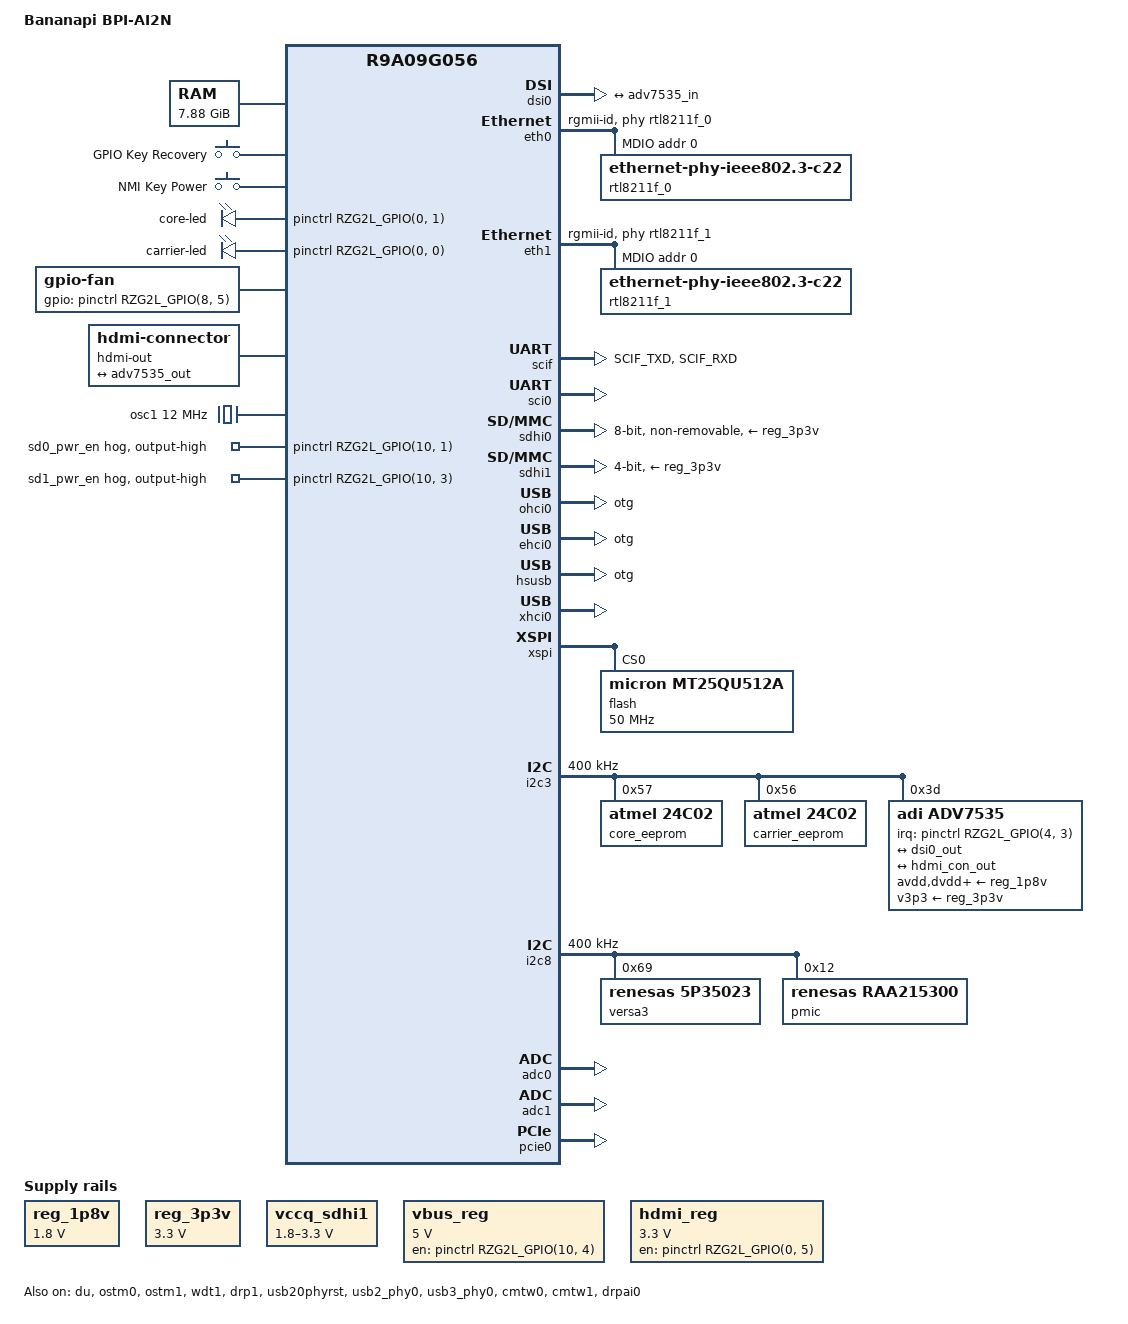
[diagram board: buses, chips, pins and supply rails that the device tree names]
// SPDX-License-Identifier: (GPL-2.0-only OR BSD-2-Clause)
/*
 * Device Tree Source for the RZ/V2N EVK Alpha board
 *
 * Copyright (C) 2024 Renesas Electronics Corp.
 */

/dts-v1/;
#include "r9a09g056.dtsi"
#include <dt-bindings/pinctrl/rzg2l-pinctrl.h>
#include <dt-bindings/gpio/gpio.h>
#include <dt-bindings/input/input.h>

/ {
	model = "Bananapi BPI-AI2N";
	compatible = "sinovoip,bpi-ai2n", "renesas,r9a09g056n44", "renesas,r9a09g056";

	aliases {
		i2c0 = &i2c0;
		i2c1 = &i2c1;
		i2c2 = &i2c2;
		i2c3 = &i2c3;
		i2c8 = &i2c8;
		serial0 = &scif;
		serial1 = &sci0;
		serial2 = &sci2;
		mmc0 = &sdhi0;
		mmc1 = &sdhi1;
		spi0 = &xspi;
		spi1 = &spi0;
		spi2 = &spi2;
		ethernet0 = &eth0;
		ethernet1 = &eth1;
	};

	chosen {
		bootargs = "ignore_loglevel";
		stdout-path = "serial0:115200n8";
	};

	memory@48000000 {
		device_type = "memory";
		/* first 128MB is reserved for secure area. */
		reg = <0x0 0x48000000 0x1 0xF8000000>;
	};

	reserved-memory {
		#address-cells = <2>;
		#size-cells = <2>;
		ranges;

		global_cma: linux,cma@58000000 {
			compatible = "shared-dma-pool";
			linux,cma-default;
			reusable;
			reg = <0x0 0x58000000 0x0 0x28000000>;
		};

		mmp_reserved: linux,multimedia {
			compatible = "shared-dma-pool";
			reusable;
			reg = <0x00000000 0x80000000 0x0 0x10000000>;
		};

		isp_reserved: frame_buffer@90000000 {
			compatible = "shared-dma-pool";
			reusable;
			reg = <0x0 0x90000000 0x0 0x18000000>;
		};

		opencva_reserved: OpenCVA@A8000000 {
			reusable;
			reg = <0x0 0xA8000000 0x0 0x7CFF000>;
		};

		shared_drp_reserved: SharedDRP@AFCFF000 {
			reusable;
			reg = <0x0 0xAFCFF000 0x0 0x00001000>;
		};

		drp_codec: DRP-Codec@AFD00000 {
			reusable;
			reg = <0x0 0xAFD00000 0x0 0x300000>;
		};

		image_buf0: image_buf@B0000000 {
			compatible = "shared-dma-pool";
			reusable;
			reg = <0x0 0xB0000000 0x0 0x4000000>;
			label = "image_buf0";
		};

		cru_func: cru_buffer@B4000000 {
			compatible = "shared-dma-pool";
			reusable;
			reg = <0x0 0xB4000000 0x0 0x16400000>;
		};

		drp_reserved: DRP-AI@D0000000 {
			reusable;
			reg = <0x0 0xD0000000 0x0 0x20000000>;
		};
	};

	mmngr {
		compatible = "renesas,mmngr";
		memory-region = <&mmp_reserved>;
	};

	mmngrbuf {
		compatible = "renesas,mmngrbuf";
	};

	vspm_if {
		compatible = "renesas,vspm_if";
	};

	x1_clk: x1-clock {
		compatible = "fixed-clock";
		#clock-cells = <0>;
		clock-frequency = <24000000>;
	};

	/* 32.768kHz crystal for raa2153000 rtc */
	x3_clk: x3-clock {
		compatible = "fixed-clock";
		#clock-cells = <0>;
		clock-frequency = <32768>;
	};

	reg_1p8v: regulator0 {
		compatible = "regulator-fixed";

		regulator-name = "fixed-1.8V";
		regulator-min-microvolt = <1800000>;
		regulator-max-microvolt = <1800000>;
		regulator-boot-on;
		regulator-always-on;
	};

	reg_3p3v: regulator1 {
		compatible = "regulator-fixed";

		regulator-name = "fixed-3.3V";
		regulator-min-microvolt = <3300000>;
		regulator-max-microvolt = <3300000>;
		regulator-boot-on;
		regulator-always-on;
	};

	/* SD IOVS */
	vccq_sdhi1: regulator-vccq-sdhi1 {
		compatible = "regulator-gpio";

		regulator-name = "SDHI1 VccQ";
		regulator-min-microvolt = <1800000>;
		regulator-max-microvolt = <3300000>;

		gpios = <&pinctrl RZG2L_GPIO(10, 2) GPIO_ACTIVE_HIGH>;

		gpios-states = <0>;
		states = <3300000 0 1800000 1>;
	};

	vbus_reg: regulator_vbus {
 		compatible = "regulator-fixed";
		regulator-name = "vbus-regulator";
		regulator-min-microvolt = <5000000>;
		regulator-max-microvolt = <5000000>;
		startup-delay-us = <20000>;
		gpios = <&pinctrl RZG2L_GPIO(10, 4) GPIO_ACTIVE_HIGH>;
		enable-active-high;
		regulator-boot-on;
		regulator-always-on;
	};

	hdmi_reg: regulator_hdmi {
		compatible = "regulator-fixed";
		regulator-name = "hdmi-regulator";
		regulator-min-microvolt = <3300000>;
		regulator-max-microvolt = <3300000>;
		startup-delay-us = <20000>;
		gpios = <&pinctrl RZG2L_GPIO(0, 5) GPIO_ACTIVE_HIGH>;
		enable-active-high;
		regulator-boot-on;
		regulator-always-on;
	};

	gpio-keys {
		compatible = "gpio-keys";
		status = "okay";

		/* GPIO recovery key */
		recovery {
			interrupt-parent = <&pinctrl>;
			interrupts = <RZG2L_GPIO(0, 3) IRQ_TYPE_LEVEL_LOW>;
			//gpios = <&pinctrl RZG2L_GPIO(0, 3) GPIO_ACTIVE_HIGH>;
			linux,code = <KEY_VENDOR>;
			label = "GPIO Key Recovery";
			debounce-interval = <100>;
			//wakeup-source;
		};

		/* NMI power key */
		power {
			interrupt-parent = <&icu>;
			interrupts = <0 IRQ_TYPE_EDGE_FALLING>;
			linux,code = <KEY_POWER>;
			label = "NMI Key Power";
			debounce-interval = <100>;
			//wakeup-source;
		};
	};

	leds {
		compatible = "gpio-leds";

		core-led {
			gpios = <&pinctrl RZG2L_GPIO(0, 1) GPIO_ACTIVE_HIGH>;
			label = "core-led";
			linux,default-trigger = "default-on";
			default-state = "off";
		};

		carrier-led {
			gpios = <&pinctrl RZG2L_GPIO(0, 0) GPIO_ACTIVE_HIGH>;
                        label = "carrier-led";
                        linux,default-trigger = "heartbeat";
			default-state = "off";
                };
	};

	gpio-fan {
		compatible = "gpio-fan";
		status = "okay";
		gpios = <&pinctrl RZG2L_GPIO(8, 5) GPIO_ACTIVE_HIGH>;
		gpio-fan,speed-map = <0 1 3000 0>;
        };

	fan: pwm-fan {
                compatible = "pwm-fan";
		status = "disabled";
                cooling-levels = <0 100 150 200 255>;
                #cooling-cells = <2>;
                fan-supply = <&reg_1p8v>;
                pwms = <&gpt0_5 0 50000 0>;
        };

	hdmi-out {
		compatible = "hdmi-connector";
		type = "d";

		port {
			hdmi_con_out: endpoint {
				remote-endpoint = <&adv7535_out>;
			};
		};
	};

	osc1: cec-clock {
		compatible = "fixed-clock";
		#clock-cells = <0>;
		clock-frequency = <12000000>;
	};

	snd_rzv2n: sound {
		#address-cells = <1>;
		#size-cells = <0>;
		compatible = "simple-audio-card";
		simple-audio-card,name = "rsnd_rzv2n";
		status="disabled";

		ssi_link: simple-audio-card,dai-link@0 {
			format = "i2s";
			reg = <0>;
			bitclock-master = <&cpu_dai0>;
			frame-master = <&cpu_dai0>;
			mclk-fs = <256>;

			cpu_dai0: cpu {
				sound-dai = <&rcar_sound 0>;
			};

			codec_dai: codec {
				sound-dai = <&da7212>;
				clocks = <&rcar_sound>;
			};
		};
	};
};

&du {
	status = "okay";
};

&dsi0 {
	status = "okay";

	ports {
		port@1 {
			dsi0_out: endpoint {
				remote-endpoint = <&adv7535_in>;
				data-lanes = <1 2 3 4>;
			};
		};
	};
};

&eth0 {
	phy-handle = <&rtl8211f_0>;
	phy-mode = "rgmii-id";
	status = "okay";

	mdio {
		compatible = "snps,dwmac-mdio";
		#address-cells = <1>;
		#size-cells = <0>;

		rtl8211f_0: ethernet-phy@0 {
			compatible = "ethernet-phy-ieee802.3-c22";
                        reg = <0>;
			//max-speed = <1000>;
                        //reset-assert-us = <10000>;
                        //reset-deassert-us = <30000>;
                        //reset-gpios = <&pinctrl RZG2L_GPIO(7, 1) IRQ_TYPE_LEVEL_LOW>;

			//interrupt-parent = <&pinctrl>;
			//interrupts = <RZG2L_GPIO(7, 1) IRQ_TYPE_LEVEL_LOW>;
                };
	};
};

&eth1 {
	phy-handle = <&rtl8211f_1>;
	phy-mode = "rgmii-id";
	status = "okay";

	mdio {
		compatible = "snps,dwmac-mdio";
		#address-cells = <1>;
		#size-cells = <0>;

		rtl8211f_1: ethernet-phy@0 {
			compatible = "ethernet-phy-ieee802.3-c22";
                        reg = <0>;
                        //max-speed = <1000>;
                        //reset-assert-us = <10000>;
                        //reset-deassert-us = <30000>;
                        //reset-gpios = <&pinctrl RZG2L_GPIO(7, 1) IRQ_TYPE_LEVEL_LOW>;

                        //interrupt-parent = <&pinctrl>;
                        //interrupts = <RZG2L_GPIO(7, 1) IRQ_TYPE_LEVEL_LOW>;
                };
	};
};

&audio_clka {
	clock-frequency = <22579200>;
};

&audio_clkb {
	clock-frequency = <24576000>;
};

&audio_clkc {
	clock-frequency = <22579200>;
};

&pinctrl {
        i2c0_pins: i2c0 {
                pinmux = <RZG2L_PORT_PINMUX(3, 0, 1)>, /* I2C0_SDA */
                         <RZG2L_PORT_PINMUX(3, 1, 1)>; /* I2C0_SCL */
        };

        i2c1_pins: i2c1 {
                pinmux = <RZG2L_PORT_PINMUX(3, 2, 1)>, /* I2C1_SDA */
                         <RZG2L_PORT_PINMUX(3, 3, 1)>; /* I2C1_SCL */
        };

	i2c2_pins: i2c2 {
		pinmux = <RZG2L_PORT_PINMUX(2, 0, 4)>, /* I2C2_SDA */
			 <RZG2L_PORT_PINMUX(2, 1, 4)>; /* I2C2_SCL */
	};

	i2c3_pins: i2c3 {
		pinmux = <RZG2L_PORT_PINMUX(3, 6, 1)>, /* I2C3_SDA */
			 <RZG2L_PORT_PINMUX(3, 7, 1)>; /* I2C3_SCL */
	};

	i2c8_pins: i2c8 {
		pinmux = <RZG2L_PORT_PINMUX(0, 6, 1)>, /* I2C8_SDA */
			 <RZG2L_PORT_PINMUX(0, 7, 1)>; /* I2C8_SCL */
	};

	scif0_pins: scif0 {
		pins =  "SCIF_TXD", "SCIF_RXD";
		renesas,output-impedance = <1>;
	};

	sd0_pwr_en {
		gpio-hog;
		gpios = <RZG2L_GPIO(10, 1) GPIO_ACTIVE_HIGH>;
		output-high;
		line-name = "sd0_pwr_en";
	};

	sd1_pwr_en {
		gpio-hog;
		gpios = <RZG2L_GPIO(10, 3) GPIO_ACTIVE_HIGH>;
		output-high;
		line-name = "sd1_pwr_en";
	};


	/* Support pinctrl for SD function of SDHI1 */
	sdhi1_pins: sd1 {
		sd1_mux {
			pinmux = <RZG2L_PORT_PINMUX(9, 4, 14)>; /* SD1_CD */
		};
	};

	gpt0_5_pins: gpt0_5 {
		pinmux = <RZG2L_PORT_PINMUX(8, 4, 9)>, /* Channel A */
			 <RZG2L_PORT_PINMUX(8, 5, 9)>; /* Channel B */
	};

	spi0_pins: spi0 {
		pinmux = <RZG2L_PORT_PINMUX(9, 1, 1)>, /* MISO */
			 <RZG2L_PORT_PINMUX(9, 0, 1)>, /* MOSI */
			 <RZG2L_PORT_PINMUX(9, 3, 1)>, /* CS0 */
			 <RZG2L_PORT_PINMUX(9, 5, 1)>, /* CS1 */
			 <RZG2L_PORT_PINMUX(9, 2, 1)>; /* SCK */
	};

	spi2_pins: spi2 {
		pinmux = <RZG2L_PORT_PINMUX(11, 3, 5)>, /* MISO */
			 <RZG2L_PORT_PINMUX(11, 4, 5)>, /* MOSI */
			 <RZG2L_PORT_PINMUX(10, 7, 5)>, /* CS0 */
			 <RZG2L_PORT_PINMUX(10, 6, 5)>, /* CS1 */
			 <RZG2L_PORT_PINMUX(11, 5, 5)>; /* SCK */
	};

	sound_clk_pins: sound_clk {
		pinmux = <RZG2L_PORT_PINMUX(1, 0, 7)>, /* AUDIO_CLKB */
			 <RZG2L_PORT_PINMUX(1, 1, 7)>, /* AUDIO_CLKC */
			 <RZG2L_PORT_PINMUX(9, 7, 8)>; /* AUDIO_CLKOUT */
	};

	sound_pins: sound {
		pinmux = <RZG2L_PORT_PINMUX(1, 2, 7)>, /* SSI3_SCK */
			 <RZG2L_PORT_PINMUX(1, 3, 7)>, /* SSI3_WS */
			 <RZG2L_PORT_PINMUX(0, 4, 7)>, /* SSI3_SDATA_OUT */
			 <RZG2L_PORT_PINMUX(1, 5, 7)>; /* SSI4_SDATA_IN */
	};

	sci0_pins: sci0 {
		pinmux = <RZG2L_PORT_PINMUX(5, 0, 1)>, /* TXD */
			 <RZG2L_PORT_PINMUX(5, 1, 1)>, /* RXD */
			 <RZG2L_PORT_PINMUX(5, 2, 1)>, /* CTS */
			 <RZG2L_PORT_PINMUX(5, 3, 1)>; /* RTS */
	};

	sci2_pins: sci2 {
		pinmux = <RZG2L_PORT_PINMUX(5, 4, 1)>, /* TXD */
			 <RZG2L_PORT_PINMUX(5, 5, 1)>, /* RXD */
			 <RZG2L_PORT_PINMUX(5, 6, 1)>, /* CTS */
			 <RZG2L_PORT_PINMUX(5, 7, 1)>; /* RTS */
	};
};

&qextal_clk {
	clock-frequency = <24000000>;
};

&scif {
	pinctrl-0 = <&scif0_pins>;
	pinctrl-names = "default";

	status = "okay";
};

/* 40pin uart0 */
&sci0 {
        pinctrl-0 = <&sci0_pins>;
        pinctrl-names = "default";

        status = "okay";
};

/* 40pin uart2 */
&sci2 {
	pinctrl-0 = <&sci2_pins>;
	pinctrl-names = "default";

	status = "disabled";
};

&ostm0 {
	status = "okay";
};

&ostm1 {
	status = "okay";
};

&wdt1 {
	status = "okay";
};

/* eMMC */
&sdhi0 {
	vmmc-supply = <&reg_3p3v>;
	vqmmc-supply = <&reg_1p8v>;
	bus-width = <8>;
	mmc-hs200-1_8v;
	non-removable;
	fixed-emmc-driver-type = <1>;
	status = "okay";
};

/* SD */
&sdhi1 {
	pinctrl-0 = <&sdhi1_pins>;
	pinctrl-names = "default";

	vmmc-supply = <&reg_3p3v>;
	vqmmc-supply = <&vccq_sdhi1>;
	bus-width = <4>;
	sd-uhs-sdr50;
	sd-uhs-sdr104;
	status = "okay";
};

&drp1 {
    memory-region = <&drp_codec>;
    memory-oca-region = <&opencva_reserved>;
    memory-shared-for-drpai-ext-cont = <&shared_drp_reserved>;
    status = "okay";
};

&rtc {
        status = "disabled";
};

&gpt0_5 {
	pinctrl-0 = <&gpt0_5_pins>;
	pinctrl-names = "default";
	//channel = "both_AB";
	channel = "channel_A";        /* 40pin pin.7 */
	//channel = "channel_B";      /* pwmfan */
	status = "disabled";
};

&ohci0 {
	memory-region = <&global_cma>;
	dr_mode = "otg";
	status = "okay";
};

&ehci0 {
	memory-region = <&global_cma>;
	dr_mode = "otg";
	status = "okay";
};

&hsusb {
	dr_mode = "otg";
	status = "okay";
};

&usb20phyrst {
	status = "okay";
};

&usb2_phy0 {
	status = "okay";
};

&usb3_phy0 {
	status = "okay";
};

&xhci0 {
	memory-region = <&global_cma>;
	status = "okay";
};

&xspi {
	status = "okay";

	flash@0 {
		compatible = "micron,mt25qu512a", "jedec,spi-nor";
		reg = <0>;
		m25p,fast-read;
		spi-max-frequency = <50000000>;
		spi-tx-bus-width = <4>;
		spi-rx-bus-width = <4>;
/*
		partitions {
			compatible = "fixed-partitions";
			#address-cells = <1>;
			#size-cells = <1>;

			partition@0 {
				label = "bl2";
				reg = <0x00000000 0x0001D200>;
				read-only;
			};

			partition@1D200 {
				label = "fip";
				reg = <0x0001D200 0x001C2E00>;
				read-only;
			};

			partition@1E0000 {
				label = "env";
				reg = <0x001E0000 0x00020000>;
				read-only;
			};

			partition@200000 {
				label = "test-area";
				reg = <0x00200000 0x00E00000>;
			};
		};*/
	};
};

/* 40pin spi0 */
&spi0 {
	pinctrl-0 = <&spi0_pins>;
	pinctrl-names = "default";
	num-cs = <2>;

	status = "disabled";
};

/* 40pin spi2 */
&spi2 {
	pinctrl-0 = <&spi2_pins>;
	pinctrl-names = "default";
	num-cs = <2>;
 
	status = "disabled";
};

/* cam i2c-mux */
&i2c0 {
	clock-frequency = <400000>;
	pinctrl-0 = <&i2c0_pins>;
	pinctrl-names = "default";

	status = "disabled";
};

/* 40pin i2c1 */
&i2c1 {
	clock-frequency = <400000>;
	pinctrl-0 = <&i2c1_pins>;
	pinctrl-names = "default";

	status = "disabled";

	da7212: codec@1a {
		compatible = "dlg,da7212";
		#sound-dai-cells = <0>;
		#address-cells = <1>;
		#size-cells = <0>;
		reg = <0x1a>;

		clocks = <&rcar_sound>;
		clock-names = "mclk";

		dlg,micbias1-lvl = <2500>;
		dlg,micbias2-lvl = <2500>;
		dlg,dmic-data-sel = "lrise_rfall";
		dlg,dmic-samplephase = "between_clkedge";
		dlg,dmic-clkrate = <3000000>;

		VDDA-supply = <&reg_1p8v>;
		VDDSP-supply = <&reg_3p3v>;
		VDDMIC-supply = <&reg_3p3v>;
		VDDIO-supply = <&reg_1p8v>;
		status = "disabled";
	};
};

/* 40pin i2c2 */
&i2c2 {
	clock-frequency = <400000>;
	pinctrl-0 = <&i2c2_pins>;
	pinctrl-names = "default";

	status = "disabled";
};

&i2c3 {
	clock-frequency = <400000>;
	pinctrl-0 = <&i2c3_pins>;
	pinctrl-names = "default";

	status = "okay";

	core_eeprom: eeprom@57 {
		compatible = "atmel,24c02";
		reg = <0x57>;
		pagesize = <8>;
		//read-only;
	};

	carrier_eeprom: eeprom@56 {
		compatible = "atmel,24c02";
		reg = <0x56>;
		pagesize = <8>;
		//read-only;
	};

	adv7535: hdmi@3d {
		compatible = "adi,adv7535";
		reg = <0x3d>;

		clocks = <&osc1>;
		clock-names = "cec";
		avdd-supply = <&reg_1p8v>;
		dvdd-supply = <&reg_1p8v>;
		pvdd-supply = <&reg_1p8v>;
		a2vdd-supply = <&reg_1p8v>;
		v3p3-supply = <&reg_3p3v>;
		v1p2-supply = <&reg_1p8v>;

		interrupt-parent = <&pinctrl>;
		interrupts = <RZG2L_GPIO(4, 3) IRQ_TYPE_LEVEL_LOW>;

		adi,dsi-lanes = <4>;

		ports {
			#address-cells = <1>;
			#size-cells = <0>;

			port@0 {
				reg = <0>;
				adv7535_in: endpoint@0 {
					remote-endpoint = <&dsi0_out>;
				};
			};

			port@1 {
				reg = <1>;
				adv7535_out: endpoint@1 {
				remote-endpoint = <&hdmi_con_out>;
				};
			};
		};
	};

	ext_rtc: rtc@51 {
		compatible = "nxp,pcf8563";
		reg = <0x51>;
		status = "disabled";
	};
};

&i2c8 {
	clock-frequency = <400000>;
	pinctrl-0 = <&i2c8_pins>;
	pinctrl-names = "default";

	status = "okay";

	versa3: versa3@69 {
		compatible = "renesas,5p35023";
		reg = <0x69>;
		#clock-cells = <1>;
		clocks = <&x1_clk>;
		clock-names = "x1";
		assigned-clocks = <&versa3 5>,
				<&versa3 4>,
				<&versa3 3>,
				<&versa3 2>,
				<&versa3 1>,
				<&versa3 0>;
		assigned-clock-rates =  <100000000>, <100000000>,
					<22579200>, <32768>,
					<24576000>, <24000000>;
		clock-divider-read-only = <1>, <1>, <1>, <1>, <1>;
		clock-flags = <2176>, <2176>, <2176>, <2052>, <2176>, <2048>;
	};

        pmic: raa215300@12 {
                compatible = "renesas,raa215300";
                reg = <0x12>, <0x6f>;
                reg-names = "main", "rtc";

                clocks = <&x3_clk>;
                clock-names = "xin";
		status = "okay";
        };
};

&adc0 {
	status = "okay";
};

&adc1 {
	status = "okay";
};

&adc2 {
	status = "disabled";
};

&cmtw0 {
	status = "okay";
};

&cmtw1 {
	status = "okay";
};

&rcar_sound {
	pinctrl-0 = <&sound_clk_pins &sound_pins>;
	pinctrl-names = "default";

	status = "disabled";

	/* audio_clkout */
	#clock-cells = <0>;
	clock-frequency = <11289600>;

	/* Multi DAI */
	#sound-dai-cells = <1>;

	rcar_sound,dai {
		dai0 {
			playback = <&ssi3>;
			capture  = <&ssi4 &src0 &dvc0>;
		};
	};
};

&ssi4 {
	shared-pin;
};

&pcie0 {
	/* Map all possible DDR as inbound ranges */
	dma-ranges = <0x42000000 0 0x40000000 0 0x40000000 0x2 0x00000000>;

	status = "okay";
};

&drpai0 {
	memory-region = <&drp_reserved>;
	memory-shared-for-drpai-ext-cont = <&shared_drp_reserved>;
	status = "okay";
};
